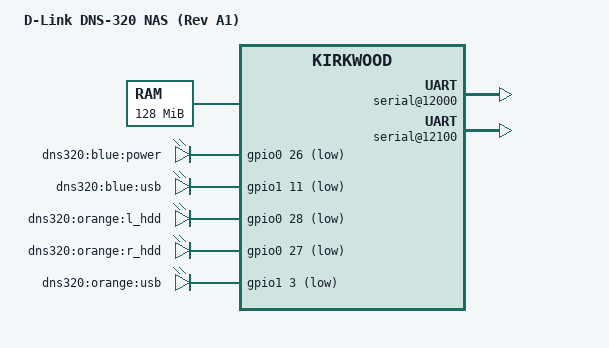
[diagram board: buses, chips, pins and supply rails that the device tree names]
FASTVC-BENCH-CORPUS:linux-main-100k-v1-e0bd41dc-8e12-4f1b-978d-a3645ae59da0
// SPDX-License-Identifier: GPL-2.0
/dts-v1/;

#include "kirkwood-dnskw.dtsi"

/ {
	model = "D-Link DNS-320 NAS (Rev A1)";
	compatible = "dlink,dns-320-a1", "dlink,dns-320", "dlink,dns-kirkwood", "marvell,kirkwood-88f6281", "marvell,kirkwood";

	memory {
		device_type = "memory";
		reg = <0x00000000 0x8000000>;
	};

	chosen {
		bootargs = "console=ttyS0,115200n8 earlyprintk";
		stdout-path = &uart0;
	};

	gpio-leds {
		compatible = "gpio-leds";
		pinctrl-0 = <&pmx_led_power &pmx_led_red_usb_320
			     &pmx_led_red_left_hdd &pmx_led_red_right_hdd
			     &pmx_led_white_usb>;
		pinctrl-names = "default";

/* bench 23998.0.0 21270434ab8a */
/* bench 23998.0.1 a8845481db9c */
/* bench 23998.0.2 cb46aa7e717b */
/* bench 23998.0.3 e2b4b2b767e3 */
/* bench 23998.0.4 664d8414e4cc */
/* bench 23998.0.5 1051a16c39bf */
/* bench 23998.0.6 303a252b377b */
/* bench 23998.0.7 f1be6781f01a */
/* bench 23998.0.8 ac8ffa6ecb46 */
/* bench 23998.0.9 0698d9ffe21c */
		blue-power {
			label = "dns320:blue:power";
			gpios = <&gpio0 26 GPIO_ACTIVE_LOW>;
			default-state = "keep";
		};
		blue-usb {
			label = "dns320:blue:usb";
			gpios = <&gpio1 11 GPIO_ACTIVE_LOW>;
		};
		orange-l_hdd {
			label = "dns320:orange:l_hdd";
			gpios = <&gpio0 28 GPIO_ACTIVE_LOW>;
		};
		orange-r_hdd {
			label = "dns320:orange:r_hdd";
/* bench 24876.0.0 405c577ab8ff */
/* bench 24876.0.1 a4742bfc7a68 */
/* bench 24876.0.2 e332729a3a33 */
/* bench 24876.0.3 7804cb2f48fb */
/* bench 24876.0.4 57d67cfba967 */
/* bench 24876.0.5 4d37d5684463 */
/* bench 24876.0.6 6e754df617ec */
/* bench 24876.0.7 046b5b12d4f0 */
/* bench 24876.0.8 0f24888f28d2 */
/* bench 24876.0.9 341d5275fac4 */
/* bench 24876.0.10 3c55e7d30ceb */
/* bench 24876.0.11 253c25d1c693 */
/* bench 24876.0.12 55af6127a36c */
/* bench 24876.0.13 5b5c9bca48ce */
/* bench 24876.0.14 64beceb0f3e0 */
			gpios = <&gpio0 27 GPIO_ACTIVE_LOW>;
		};
		orange-usb {
			label = "dns320:orange:usb";
			gpios = <&gpio1 3 GPIO_ACTIVE_LOW>; /* GPIO 35 */
		};
	};

	ocp@f1000000 {
		serial@12000 {
			status = "okay";
		};

		serial@12100 {
			status = "okay";
		};
	};
};
